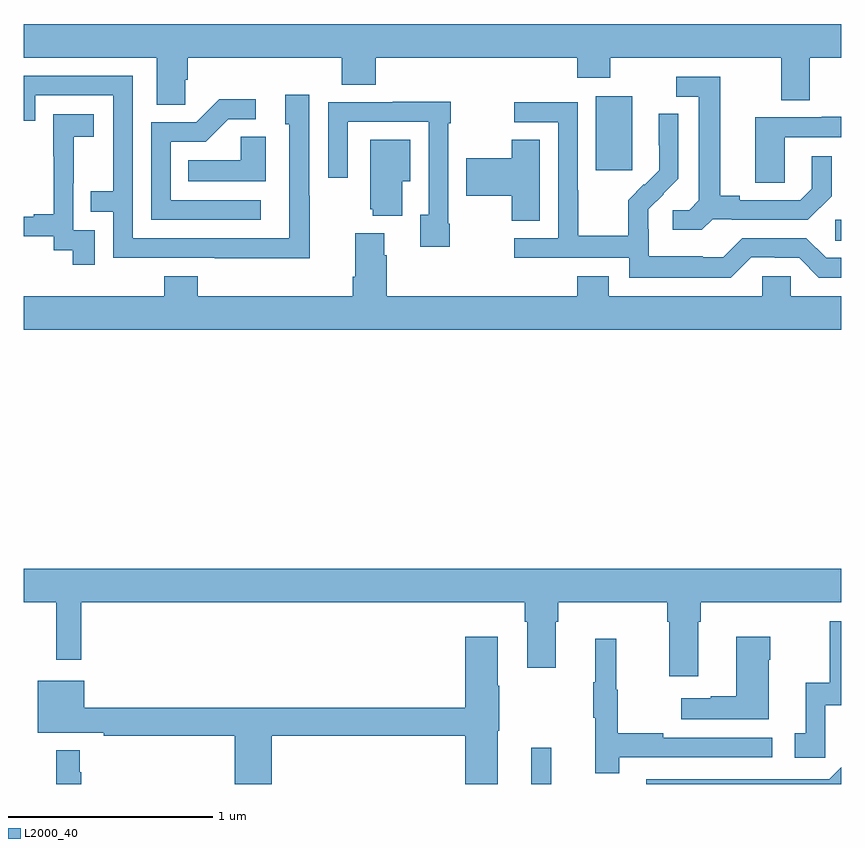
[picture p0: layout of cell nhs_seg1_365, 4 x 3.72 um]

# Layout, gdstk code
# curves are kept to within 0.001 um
import gdstk
lib = gdstk.Library(unit=1e-6, precision=1e-09)
def R(c, l, rs):  # rectangles x0, y0, x1, y1
    for r in rs: c.add(gdstk.rectangle(r[:2], r[2:], *l))
def P(c, l, *ps):  # polygons
    for p in ps: c.add(gdstk.Polygon(p, *l))
L2000_40 = (2000, 40)

nhs_seg1_365 = lib.new_cell('nhs_seg1_365')
R(nhs_seg1_365, L2000_40, [(133.484,528.199,133.581,528.376), (134.97,530.857,135,530.958), (133.799,531.201,133.978,531.562)])
P(nhs_seg1_365, L2000_40, [(131.79,531.643),(131.804,531.643),(131.804,531.752),(132.557,531.752),(132.557,531.619),(132.722,531.619),(132.722,531.752),(133.709,531.752),(133.709,531.653),(133.869,531.653),(133.869,531.752),(134.705,531.752),(134.705,531.544),(134.845,531.544),(134.845,531.752),(135,531.752),(135,531.916),(131,531.916),(131,531.752),(131.651,531.752),(131.651,531.52),(131.79,531.52)],
  [(132.399,531.077),(132.396,531.077),(132.396,531.571),(132.281,531.571),(132.281,531.426),(132.3,531.426),(132.3,530.868),(131.535,530.868),(131.535,531.663),(131,531.663),(131,531.444),(131.058,531.444),(131.058,531.567),(131.439,531.567),(131.439,531.098),(131.329,531.098),(131.329,530.997),(131.439,530.997),(131.439,530.772),(131.935,530.772),(131.935,530.771),(132.399,530.771)],
  [(134.37,530.961),(134.464,530.961),(134.464,530.958),(134.836,530.958),(134.952,531.074),(134.952,531.268),(134.855,531.268),(134.855,531.111),(134.798,531.054),(134.503,531.054),(134.503,531.077),(134.407,531.077),(134.407,531.657),(134.193,531.657),(134.193,531.561),(134.303,531.561),(134.303,531.053),(134.256,531.006),(134.175,531.006),(134.175,530.909),(134.318,530.909)],
  [(132.16,531.054),(131.721,531.054),(131.721,531.339),(131.89,531.339),(132.001,531.45),(132.136,531.45),(132.136,531.548),(131.957,531.548),(131.844,531.435),(131.625,531.435),(131.625,530.958),(132.16,530.958)],
  [(133.085,530.938),(133.077,530.938),(133.077,531.431),(133.09,531.431),(133.09,531.536),(132.805,531.536),(132.805,531.534),(132.489,531.534),(132.489,531.165),(132.585,531.165),(132.585,531.438),(132.981,531.438),(132.981,530.982),(132.941,530.982),(132.941,530.826),(133.085,530.826)],
  [(134.559,530.775),(134.675,530.775),(134.675,530.772),(134.793,530.772),(134.889,530.676),(135,530.676),(135,530.772),(134.925,530.772),(134.829,530.868),(134.514,530.868),(134.421,530.775),(134.321,530.775),(134.321,530.779),(134.058,530.779),(134.058,530.913),(134.056,530.913),(134.056,531.01),(134.202,531.158),(134.202,531.476),(134.106,531.476),(134.106,531.322),(134.108,531.322),(134.108,531.2),(134.037,531.129),(134.034,531.132),(133.957,531.055),(133.957,530.881),(133.713,530.881),(133.713,531.104),(133.71,531.104),(133.71,531.534),(133.401,531.534),(133.401,531.435),(133.614,531.435),(133.614,530.868),(133.401,530.868),(133.401,530.772),(133.962,530.772),(133.962,530.675),(134.459,530.675)],
  [(131.349,530.907),(131.244,530.907),(131.244,531.137),(131.246,531.137),(131.246,531.365),(131.344,531.365),(131.344,531.475),(131.146,531.475),(131.146,531.269),(131.147,531.269),(131.147,530.986),(131.051,530.986),(131.051,530.973),(131,530.973),(131,530.877),(131.148,530.877),(131.148,530.809),(131.241,530.809),(131.241,530.739),(131.349,530.739)],
  [(134.724,531.363),(135,531.363),(135,531.463),(134.903,531.463),(134.903,531.459),(134.579,531.459),(134.579,531.139),(134.724,531.139)],
  [(132.184,531.365),(132.063,531.365),(132.063,531.25),(131.806,531.25),(131.806,531.146),(132.184,531.146)],
  [(133.525,531.35),(133.387,531.35),(133.387,531.26),(133.164,531.26),(133.164,531.077),(133.387,531.077),(133.387,530.953),(133.525,530.953)],
  [(132.853,531.146),(132.892,531.146),(132.892,531.349),(132.695,531.349),(132.695,531.009),(132.707,531.009),(132.707,530.978),(132.853,530.978)],
  [(135,530.584),(134.751,530.584),(134.751,530.682),(134.613,530.682),(134.613,530.584),(133.861,530.584),(133.861,530.683),(133.709,530.683),(133.709,530.584),(132.776,530.584),(132.776,530.786),(132.763,530.786),(132.763,530.893),(132.623,530.893),(132.623,530.68),(132.611,530.68),(132.611,530.584),(131.852,530.584),(131.852,530.683),(131.687,530.683),(131.687,530.584),(131,530.584),(131,530.42),(135,530.42)],
  [(134.299,528.992),(134.312,528.992),(134.312,529.088),(135,529.088),(135,529.252),(131,529.252),(131,529.088),(131.159,529.088),(131.159,528.807),(131.281,528.807),(131.281,529.088),(133.451,529.088),(133.451,528.992),(133.463,528.992),(133.463,528.768),(133.603,528.768),(133.603,528.992),(133.616,528.992),(133.616,529.088),(134.147,529.088),(134.147,528.992),(134.159,528.992),(134.159,528.726),(134.299,528.726)],
  [(134.922,528.585),(135,528.585),(135,528.996),(134.943,528.996),(134.943,528.694),(134.825,528.694),(134.825,528.447),(134.772,528.447),(134.772,528.327),(134.922,528.327)],
  [(132.215,528.436),(133.16,528.436),(133.16,528.199),(133.318,528.199),(133.318,528.459),(133.326,528.459),(133.326,528.68),(133.318,528.68),(133.318,528.919),(133.16,528.919),(133.16,528.572),(131.296,528.572),(131.296,528.703),(131.069,528.703),(131.069,528.449),(131.392,528.449),(131.392,528.436),(132.032,528.436),(132.032,528.199),(132.215,528.199)],
  [(134.644,528.806),(134.652,528.806),(134.652,528.919),(134.486,528.919),(134.486,528.629),(134.36,528.629),(134.36,528.619),(134.217,528.619),(134.217,528.515),(134.644,528.515)],
  [(133.913,528.33),(134.662,528.33),(134.662,528.426),(134.129,528.426),(134.129,528.446),(133.906,528.446),(133.906,528.66),(133.898,528.66),(133.898,528.91),(133.796,528.91),(133.796,528.697),(133.785,528.697),(133.785,528.523),(133.796,528.523),(133.796,528.252),(133.913,528.252)],
  [(131.281,528.257),(131.274,528.257),(131.274,528.364),(131.159,528.364),(131.159,528.199),(131.281,528.199)],
  [(135,528.282),(134.94,528.222),(134.046,528.222),(134.046,528.199),(135,528.199)])

lib.write_gds('nhs_seg1_365.gds')
